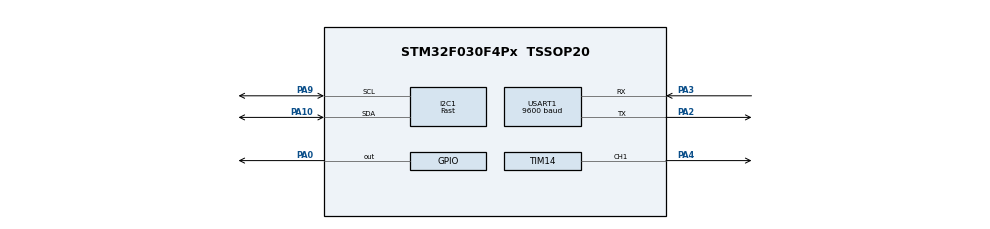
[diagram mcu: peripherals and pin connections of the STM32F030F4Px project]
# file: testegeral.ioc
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I2C1.I2C_Speed_Mode=I2C_Fast
I2C1.Timing=0x0000020B
Mcu.Family=STM32F0
Mcu.Name=STM32F030F4Px
Mcu.Package=TSSOP20
PA0.Signal=GPIO_Output
PA10.Mode=I2C
PA10.Signal=I2C1_SDA
PA13.Mode=Serial_Wire
PA13.Signal=SYS_SWDIO
PA14.Mode=Serial_Wire
PA14.Signal=SYS_SWCLK
PA2.Mode=Asynchronous
PA2.Signal=USART1_TX
PA3.Mode=Asynchronous
PA3.Signal=USART1_RX
PA4.Signal=S_TIM14_CH1
PA9.Mode=I2C
PA9.Signal=I2C1_SCL
ProjectManager.HeapSize=0x200
ProjectManager.StackSize=0x400
ProjectManager.TargetToolchain=TrueSTUDIO
SH.S_TIM14_CH1.0=TIM14_CH1,PWM Generation1 CH1
TIM14.Channel=TIM_CHANNEL_1
USART1.BaudRate=9600
USART1.VirtualMode-Asynchronous=VM_ASYNC
VP_TIM14_VS_ClockSourceINT.Mode=Enable_Timer
board=custom

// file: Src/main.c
/**
  ******************************************************************************
  * @file           : main.c
  * @brief          : Main program body
  ******************************************************************************
  ** This notice applies to any and all portions of this file
  * that are not between comment pairs USER CODE BEGIN and
  * USER CODE END. Other portions of this file, whether
  * inserted by the user or by software development tools
  * are owned by their respective copyright owners.
  *
  * COPYRIGHT(c) 2018 STMicroelectronics
  *
  * Redistribution and use in source and binary forms, with or without modification,
  * are permitted provided that the following conditions are met:
  *   1. Redistributions of source code must retain the above copyright notice,
  *      this list of conditions and the following disclaimer.
  *   2. Redistributions in binary form must reproduce the above copyright notice,
  *      this list of conditions and the following disclaimer in the documentation
  *      and/or other materials provided with the distribution.
  *   3. Neither the name of STMicroelectronics nor the names of its contributors
  *      may be used to endorse or promote products derived from this software
  *      without specific prior written permission.
  *
  * THIS SOFTWARE IS PROVIDED BY THE COPYRIGHT HOLDERS AND CONTRIBUTORS "AS IS"
  * AND ANY EXPRESS OR IMPLIED WARRANTIES, INCLUDING, BUT NOT LIMITED TO, THE
  * IMPLIED WARRANTIES OF MERCHANTABILITY AND FITNESS FOR A PARTICULAR PURPOSE ARE
  * DISCLAIMED. IN NO EVENT SHALL THE COPYRIGHT HOLDER OR CONTRIBUTORS BE LIABLE
  * FOR ANY DIRECT, INDIRECT, INCIDENTAL, SPECIAL, EXEMPLARY, OR CONSEQUENTIAL
  * DAMAGES (INCLUDING, BUT NOT LIMITED TO, PROCUREMENT OF SUBSTITUTE GOODS OR
  * SERVICES; LOSS OF USE, DATA, OR PROFITS; OR BUSINESS INTERRUPTION) HOWEVER
  * CAUSED AND ON ANY THEORY OF LIABILITY, WHETHER IN CONTRACT, STRICT LIABILITY,
  * OR TORT (INCLUDING NEGLIGENCE OR OTHERWISE) ARISING IN ANY WAY OUT OF THE USE
  * OF THIS SOFTWARE, EVEN IF ADVISED OF THE POSSIBILITY OF SUCH DAMAGE.
  *
  ******************************************************************************
  */
#include "main.h"
#include "stm32f0xx_hal.h"

/* USER CODE BEGIN Includes */
#include "ssd1306.h"
#include <string.h>
/* USER CODE END Includes */

I2C_HandleTypeDef hi2c1;

TIM_HandleTypeDef htim14;

UART_HandleTypeDef huart1;

/* USER CODE BEGIN PV */
/* Private variables ---------------------------------------------------------*/
uint8_t check;

/* USER CODE END PV */

void SystemClock_Config(void);
static void MX_GPIO_Init(void);
static void MX_I2C1_Init(void);
static void MX_USART1_UART_Init(void);
static void MX_TIM14_Init(void);

void HAL_TIM_MspPostInit(TIM_HandleTypeDef *htim);

/* USER CODE BEGIN PFP */
/* Private function prototypes -----------------------------------------------*/
void msg(char recebido, char *mens) {
	int cont = 0;
	if(recebido == 'A'){
		while(cont <3){
			 HAL_GPIO_TogglePin(GPIOA, GPIO_PIN_0);
			 check = SSD1306_Init ();
			 SSD1306_UpdateScreen(); //display
			 SSD1306_GotoXY (10,10);
			 SSD1306_Puts ("", &Font_11x18, 1);
			 SSD1306_GotoXY (10, 30);
			 SSD1306_Puts ("LIGACAO", &Font_11x18, 1);
			 SSD1306_UpdateScreen(); //display
			 HAL_I2C_IsDeviceReady (&hi2c1, 0x4E, 10, 100);
			 HAL_Delay(1000);
			 cont ++;
			 HAL_GPIO_TogglePin(GPIOA, GPIO_PIN_0);
			 HAL_Delay(500);
		}
	}

	if(recebido == 'B'){
		while(cont <3){
			HAL_GPIO_TogglePin(GPIOA, GPIO_PIN_0);
			check = SSD1306_Init ();
			SSD1306_UpdateScreen(); //display
			SSD1306_GotoXY (10,10);
			SSD1306_Puts ("", &Font_11x18, 1);
			SSD1306_GotoXY (10, 30);
			SSD1306_Puts ("MENSAGEM", &Font_11x18, 1);
			SSD1306_UpdateScreen(); //display
			HAL_I2C_IsDeviceReady (&hi2c1, 0x4E, 10, 100);
			HAL_Delay(1000);
			cont ++;
			HAL_GPIO_TogglePin(GPIOA, GPIO_PIN_0);
			HAL_Delay(500);
		}
	}
	if(recebido == 'C'){
			while(cont <3){
				HAL_GPIO_TogglePin(GPIOA, GPIO_PIN_0);
				check = SSD1306_Init ();
				SSD1306_UpdateScreen(); //display
				SSD1306_GotoXY (10,10);
				SSD1306_Puts ("", &Font_11x18, 1);
				SSD1306_GotoXY (10, 30);
				SSD1306_Puts ("ALARME", &Font_11x18, 1);
				SSD1306_UpdateScreen(); //display
				HAL_I2C_IsDeviceReady (&hi2c1, 0x4E, 10, 100);
				HAL_Delay(1000);
				cont ++;
				HAL_GPIO_TogglePin(GPIOA, GPIO_PIN_0);
				HAL_Delay(500);
			}
	}
	if(recebido == 'D'){
			while(cont <3){
				HAL_GPIO_TogglePin(GPIOA, GPIO_PIN_0);
				check = SSD1306_Init ();
				SSD1306_UpdateScreen(); //display
				SSD1306_GotoXY (10,10);
				SSD1306_Puts ("", &Font_11x18, 1);
				SSD1306_GotoXY (10, 30);
				SSD1306_Puts ("CAMPAINHA", &Font_11x18, 1);
				SSD1306_UpdateScreen(); //display
				HAL_I2C_IsDeviceReady (&hi2c1, 0x4E, 10, 100);
				HAL_Delay(1000);
				cont ++;
				HAL_GPIO_TogglePin(GPIOA, GPIO_PIN_0);
				HAL_Delay(500);
			}
	}
	if(recebido != 'A' && recebido != 'B' && recebido != 'C' && recebido != 'D'){
		while(cont <3){
				check = SSD1306_Init ();
				SSD1306_UpdateScreen(); //display
				SSD1306_GotoXY (10, 30);
				SSD1306_Puts (mens, &Font_11x18, 1);
				SSD1306_UpdateScreen(); //display
				HAL_I2C_IsDeviceReady (&hi2c1, 0x4E, 10, 100);
				HAL_Delay(1000);
				cont ++;

			}

	}
}

/* USER CODE END PFP */

int main(void)
{

  /* MCU Configuration----------------------------------------------------------*/

  /* Reset of all peripherals, Initializes the Flash interface and the Systick. */
  HAL_Init();

  /* Configure the system clock */
  SystemClock_Config();

  /* Initialize all configured peripherals */
  MX_GPIO_Init();
  MX_I2C1_Init();
  MX_USART1_UART_Init();
  MX_TIM14_Init();
  /* USER CODE BEGIN 2 */

  	  check = SSD1306_Init ();
    	SSD1306_UpdateScreen(); //display
    	SSD1306_GotoXY (10,10);
    	SSD1306_Puts ("", &Font_11x18, 1);
    	SSD1306_GotoXY (10, 30);
    	SSD1306_Puts ("INICIANDO", &Font_11x18, 1);
    	SSD1306_UpdateScreen(); //display
    	HAL_Delay(2500);
//    	SSD1306_GotoXY (10, 30);
//    	SSD1306_UpdateScreen();

  /* USER CODE END 2 */

  /* Infinite loop */
  /* USER CODE BEGIN WHILE */

  while (1)
  {
	  char codigo[20];

	  memset( codigo, 0, 20 );

	  HAL_UART_Receive( &huart1, codigo, 20, 2000 );
	  HAL_UART_Transmit ( &huart1, codigo, 20, 100 );
	  msg(codigo[0],codigo);

//	  HAL_UART_Transmit(&huart1,(uint8_t*)airtin, 7,100);
//	  HAL_UART_Receive(&huart1,(uint8_t*)airtin, 7,100);
//	  msg(airtin[0]);
//
	  codigo[0] = "0";

  /* USER CODE END WHILE */

  }

}

void SystemClock_Config(void)
{

  RCC_OscInitTypeDef RCC_OscInitStruct;
  RCC_ClkInitTypeDef RCC_ClkInitStruct;
  RCC_PeriphCLKInitTypeDef PeriphClkInit;

    /**Initializes the CPU, AHB and APB busses clocks
    */
  RCC_OscInitStruct.OscillatorType = RCC_OSCILLATORTYPE_HSI;
  RCC_OscInitStruct.HSIState = RCC_HSI_ON;
  RCC_OscInitStruct.HSICalibrationValue = 16;
  RCC_OscInitStruct.PLL.PLLState = RCC_PLL_NONE;
  if (HAL_RCC_OscConfig(&RCC_OscInitStruct) != HAL_OK)
  {
    _Error_Handler(__FILE__, __LINE__);
  }

    /**Initializes the CPU, AHB and APB busses clocks
    */
  RCC_ClkInitStruct.ClockType = RCC_CLOCKTYPE_HCLK|RCC_CLOCKTYPE_SYSCLK
                              |RCC_CLOCKTYPE_PCLK1;
  RCC_ClkInitStruct.SYSCLKSource = RCC_SYSCLKSOURCE_HSI;
  RCC_ClkInitStruct.AHBCLKDivider = RCC_SYSCLK_DIV1;
  RCC_ClkInitStruct.APB1CLKDivider = RCC_HCLK_DIV1;

  if (HAL_RCC_ClockConfig(&RCC_ClkInitStruct, FLASH_LATENCY_0) != HAL_OK)
  {
    _Error_Handler(__FILE__, __LINE__);
  }

  PeriphClkInit.PeriphClockSelection = RCC_PERIPHCLK_USART1|RCC_PERIPHCLK_I2C1;
  PeriphClkInit.Usart1ClockSelection = RCC_USART1CLKSOURCE_PCLK1;
  PeriphClkInit.I2c1ClockSelection = RCC_I2C1CLKSOURCE_HSI;
  if (HAL_RCCEx_PeriphCLKConfig(&PeriphClkInit) != HAL_OK)
  {
    _Error_Handler(__FILE__, __LINE__);
  }

    /**Configure the Systick interrupt time
    */
  HAL_SYSTICK_Config(HAL_RCC_GetHCLKFreq()/1000);

    /**Configure the Systick
    */
  HAL_SYSTICK_CLKSourceConfig(SYSTICK_CLKSOURCE_HCLK);

  /* SysTick_IRQn interrupt configuration */
  HAL_NVIC_SetPriority(SysTick_IRQn, 0, 0);
}

/* I2C1 init function */
static void MX_I2C1_Init(void)
{

  hi2c1.Instance = I2C1;
  hi2c1.Init.Timing = 0x0000020B;
  hi2c1.Init.OwnAddress1 = 0;
  hi2c1.Init.AddressingMode = I2C_ADDRESSINGMODE_7BIT;
  hi2c1.Init.DualAddressMode = I2C_DUALADDRESS_DISABLE;
  hi2c1.Init.OwnAddress2 = 0;
  hi2c1.Init.OwnAddress2Masks = I2C_OA2_NOMASK;
  hi2c1.Init.GeneralCallMode = I2C_GENERALCALL_DISABLE;
  hi2c1.Init.NoStretchMode = I2C_NOSTRETCH_DISABLE;
  if (HAL_I2C_Init(&hi2c1) != HAL_OK)
  {
    _Error_Handler(__FILE__, __LINE__);
  }

    /**Configure Analogue filter
    */
  if (HAL_I2CEx_ConfigAnalogFilter(&hi2c1, I2C_ANALOGFILTER_ENABLE) != HAL_OK)
  {
    _Error_Handler(__FILE__, __LINE__);
  }

    /**Configure Digital filter
    */
  if (HAL_I2CEx_ConfigDigitalFilter(&hi2c1, 0) != HAL_OK)
  {
    _Error_Handler(__FILE__, __LINE__);
  }

}

/* TIM14 init function */
static void MX_TIM14_Init(void)
{

  TIM_OC_InitTypeDef sConfigOC;

  htim14.Instance = TIM14;
  htim14.Init.Prescaler = 0;
  htim14.Init.CounterMode = TIM_COUNTERMODE_UP;
  htim14.Init.Period = 0;
  htim14.Init.ClockDivision = TIM_CLOCKDIVISION_DIV1;
  htim14.Init.AutoReloadPreload = TIM_AUTORELOAD_PRELOAD_DISABLE;
  if (HAL_TIM_Base_Init(&htim14) != HAL_OK)
  {
    _Error_Handler(__FILE__, __LINE__);
  }

  if (HAL_TIM_PWM_Init(&htim14) != HAL_OK)
  {
    _Error_Handler(__FILE__, __LINE__);
  }

  sConfigOC.OCMode = TIM_OCMODE_PWM1;
  sConfigOC.Pulse = 0;
  sConfigOC.OCPolarity = TIM_OCPOLARITY_HIGH;
  sConfigOC.OCFastMode = TIM_OCFAST_DISABLE;
  if (HAL_TIM_PWM_ConfigChannel(&htim14, &sConfigOC, TIM_CHANNEL_1) != HAL_OK)
  {
    _Error_Handler(__FILE__, __LINE__);
  }

  HAL_TIM_MspPostInit(&htim14);

}

/* USART1 init function */
static void MX_USART1_UART_Init(void)
{

  huart1.Instance = USART1;
  huart1.Init.BaudRate = 9600;
  huart1.Init.WordLength = UART_WORDLENGTH_8B;
  huart1.Init.StopBits = UART_STOPBITS_1;
  huart1.Init.Parity = UART_PARITY_NONE;
  huart1.Init.Mode = UART_MODE_TX_RX;
  huart1.Init.HwFlowCtl = UART_HWCONTROL_NONE;
  huart1.Init.OverSampling = UART_OVERSAMPLING_16;
  huart1.Init.OneBitSampling = UART_ONE_BIT_SAMPLE_DISABLE;
  huart1.AdvancedInit.AdvFeatureInit = UART_ADVFEATURE_NO_INIT;
  if (HAL_UART_Init(&huart1) != HAL_OK)
  {
    _Error_Handler(__FILE__, __LINE__);
  }

}

/** Configure pins as
        * Analog
        * Input
        * Output
        * EVENT_OUT
        * EXTI
*/
static void MX_GPIO_Init(void)
{

  GPIO_InitTypeDef GPIO_InitStruct;

  /* GPIO Ports Clock Enable */
  __HAL_RCC_GPIOA_CLK_ENABLE();

  /*Configure GPIO pin Output Level */
  HAL_GPIO_WritePin(GPIOA, GPIO_PIN_0, GPIO_PIN_RESET);

  /*Configure GPIO pin : PA0 */
  GPIO_InitStruct.Pin = GPIO_PIN_0;
  GPIO_InitStruct.Mode = GPIO_MODE_OUTPUT_PP;
  GPIO_InitStruct.Pull = GPIO_NOPULL;
  GPIO_InitStruct.Speed = GPIO_SPEED_FREQ_LOW;
  HAL_GPIO_Init(GPIOA, &GPIO_InitStruct);

}

void _Error_Handler(char *file, int line)
{
  while(1)
  {
  }
}

/************************ (C) COPYRIGHT STMicroelectronics *****END OF FILE****/
